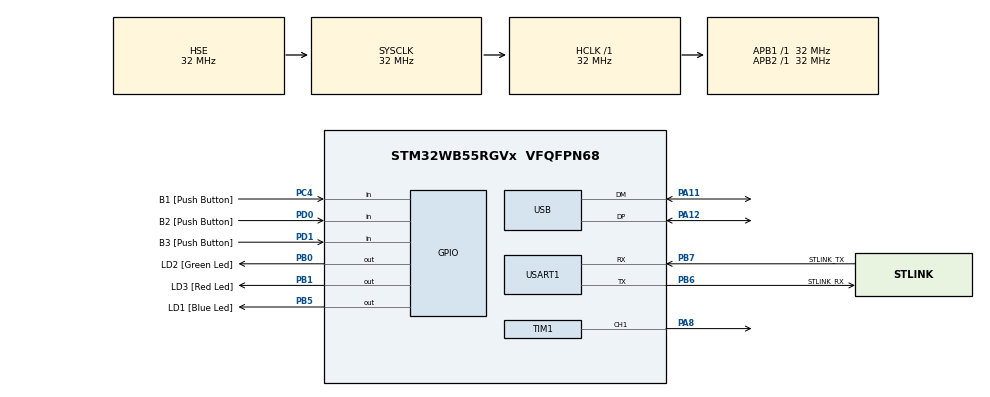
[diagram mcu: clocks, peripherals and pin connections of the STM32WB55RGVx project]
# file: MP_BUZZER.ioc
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Mcu.Family=STM32WB
Mcu.Name=STM32WB55RGVx
Mcu.Package=VFQFPN68
NVIC.PriorityGroup=NVIC_PRIORITYGROUP_4
NVIC.RTC_WKUP_IRQn=true\:0\:0\:false\:false\:true\:true\:true\:true
OSC_IN.Mode=HSE-External-Oscillator
OSC_IN.Signal=RCC_OSC_IN
OSC_OUT.Mode=HSE-External-Oscillator
OSC_OUT.Signal=RCC_OSC_OUT
PA11.Mode=Device
PA11.Signal=USB_DM
PA12.Mode=Device
PA12.Signal=USB_DP
PA13.GPIO_Label=JTMS
PA13.Mode=Trace_Asynchronous_SW
PA13.Signal=SYS_JTMS-SWDIO
PA14.GPIO_Label=JTCK
PA14.Mode=Trace_Asynchronous_SW
PA14.Signal=SYS_JTCK-SWCLK
PA8.Signal=S_TIM1_CH1
PB0.GPIO_Label=LD2 [Green Led]
PB0.Signal=GPIO_Output
PB1.GPIO_Label=LD3 [Red Led]
PB1.Signal=GPIO_Output
PB3.GPIO_Label=JTDO
PB3.Mode=Trace_Asynchronous_SW
PB3.Signal=SYS_JTDO-SWO
PB5.GPIO_Label=LD1 [Blue Led]
PB5.Signal=GPIO_Output
PB6.GPIO_Label=STLINK_RX
PB6.GPIO_PuPd=GPIO_PULLUP
PB6.Mode=Asynchronous
PB6.Signal=USART1_TX
PB7.GPIO_Label=STLINK_TX
PB7.GPIO_PuPd=GPIO_PULLUP
PB7.Mode=Asynchronous
PB7.Signal=USART1_RX
PC13.Mode=SYS_WakeUp1
PC13.Signal=SYS_WKUP2
PC14-OSC32_IN.Mode=LSE-External-Oscillator
PC14-OSC32_IN.Signal=RCC_OSC32_IN
PC15-OSC32_OUT.Mode=LSE-External-Oscillator
PC15-OSC32_OUT.Signal=RCC_OSC32_OUT
PC4.GPIO_Label=B1 [Push Button]
PC4.Signal=GPIO_Input
PD0.GPIO_Label=B2 [Push Button]
PD0.Signal=GPIO_Input
PD1.GPIO_Label=B3 [Push Button]
PD1.Signal=GPIO_Input
ProjectManager.HeapSize=0x200
ProjectManager.StackSize=0x400
ProjectManager.TargetToolchain=STM32CubeIDE
RCC.ADCFreq_Value=48000000
RCC.AHBFreq_Value=32000000
RCC.APB1Freq_Value=32000000
RCC.APB1TimFreq_Value=32000000
RCC.APB2Freq_Value=32000000
RCC.APB2TimFreq_Value=32000000
RCC.APB3Freq_Value=16000000
RCC.CortexFreq_Value=32000000
RCC.HCLKFreq_Value=32000000
RCC.HSE_VALUE=32000000
RCC.HSI48_VALUE=48000000
RCC.HSI_VALUE=16000000
RCC.LSE_Drive_Capability=RCC_LSEDRIVE_LOW
RCC.PLLN=32
RCC.PLLSAI1N=24
RCC.SMPSCLockSelectionVirtual=RCC_SMPSCLKSOURCE_HSI
RCC.SMPSCLockSelectionVirtualVirtual=RCC_SMPSCLKSOURCE_HSI
RCC.SMPSDivider=1
RCC.SYSCLKFreq_VALUE=32000000
RCC.SYSCLKSource=RCC_SYSCLKSOURCE_HSE
RCC.USBFreq_Value=48000000
RCC.VCOOutputFreq_Value=128000000
SH.S_TIM1_CH1.0=TIM1_CH1,PWM Generation1 CH1
TIM1.Channel-PWM\ Generation1\ CH1=TIM_CHANNEL_1
TIM1.Period=255
TIM1.Prescaler=15
TIM1.Pulse-PWM\ Generation1\ CH1=127
USART1.VirtualMode-Asynchronous=VM_ASYNC
USART1.WordLength=WORDLENGTH_7B
VP_MEMORYMAP_VS_MEMORYMAP.Mode=CurAppReg
VP_RTC_VS_RTC_Activate.Mode=RTC_Enabled
VP_RTC_VS_RTC_WakeUp_intern.Mode=WakeUp
VP_TIM1_VS_ClockSourceINT.Mode=Internal
board=NUCLEO-WB55RG

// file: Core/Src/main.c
/* USER CODE BEGIN Header */
/**
  ******************************************************************************
  * @file           : main.c
  * @brief          : Main program body
  ******************************************************************************
  * @attention
  *
  * Copyright (c) 2024 STMicroelectronics.
  * All rights reserved.
  *
  * This software is licensed under terms that can be found in the LICENSE file
  * in the root directory of this software component.
  * If no LICENSE file comes with this software, it is provided AS-IS.
  *
  ******************************************************************************
  */
/* USER CODE END Header */
#include "main.h"

/* USER CODE BEGIN PD */

#define A	15
#define B	126
#define C	213
#define D	210
#define E	190
#define F	178
#define G	211
#define A2	118

/* USER CODE END PD */

RTC_HandleTypeDef hrtc;

TIM_HandleTypeDef htim1;

UART_HandleTypeDef huart1;

PCD_HandleTypeDef hpcd_USB_FS;

void SystemClock_Config(void);
void PeriphCommonClock_Config(void);
static void MX_GPIO_Init(void);
static void MX_USART1_UART_Init(void);
static void MX_USB_PCD_Init(void);
static void MX_RTC_Init(void);
static void MX_TIM1_Init(void);
/* USER CODE BEGIN PFP */

void Buzzer_TurnOn(int prescalerfornote, int NoteDurationMs)
{
	HAL_TIM_PWM_Start(&htim1,TIM_CHANNEL_1);

		for(int i = 0; i<NoteDurationMs ; i++)
		{
			TIM2->PSC = prescalerfornote; //change prescaler for have the frequency of our note
			HAL_Delay(1);
		}
		TIM2->PSC=0;
	HAL_TIM_PWM_Stop(&htim1,TIM_CHANNEL_1);

}

/* USER CODE END PFP */

int main(void)
{

  /* MCU Configuration--------------------------------------------------------*/

  /* Reset of all peripherals, Initializes the Flash interface and the Systick. */
  HAL_Init();

  /* Configure the system clock */
  SystemClock_Config();

/* Configure the peripherals common clocks */
  PeriphCommonClock_Config();

  /* Initialize all configured peripherals */
  MX_GPIO_Init();
  MX_USART1_UART_Init();
  MX_USB_PCD_Init();
  MX_RTC_Init();
  MX_TIM1_Init();

  /* Infinite loop */
  while (1)
  {

    /* USER CODE BEGIN 3 */
	  Buzzer_TurnOn(G,1000);
	  	  HAL_Delay(100);
	  	Buzzer_TurnOn(A,1000);
	  	  HAL_Delay(100);
	  	  //BuzzerPlayNote(C,500);
	  	  //HAL_Delay(100);
	  	  //BuzzerPlayNote(D,500);
	  	  //HAL_Delay(100);
	  	  //BuzzerPlayNote(E,500);
	  	  //HAL_Delay(100);
	  	  //BuzzerPlayNote(F,500);
	  	  //HAL_Delay(100);
	  	  //BuzzerPlayNote(G,500);
	  	  //HAL_Delay(100);
	  	  //BuzzerPlayNote(A2,500);
  }
  /* USER CODE END 3 */
}

void SystemClock_Config(void)
{
  RCC_OscInitTypeDef RCC_OscInitStruct = {0};
  RCC_ClkInitTypeDef RCC_ClkInitStruct = {0};

  /** Macro to configure the PLL multiplication factor
  */
  __HAL_RCC_PLL_PLLM_CONFIG(RCC_PLLM_DIV1);

  /** Macro to configure the PLL clock source
  */
  __HAL_RCC_PLL_PLLSOURCE_CONFIG(RCC_PLLSOURCE_MSI);

  /** Configure LSE Drive Capability
  */
  HAL_PWR_EnableBkUpAccess();
  __HAL_RCC_LSEDRIVE_CONFIG(RCC_LSEDRIVE_LOW);

  /** Configure the main internal regulator output voltage
  */
  __HAL_PWR_VOLTAGESCALING_CONFIG(PWR_REGULATOR_VOLTAGE_SCALE1);

  /** Initializes the RCC Oscillators according to the specified parameters
  * in the RCC_OscInitTypeDef structure.
  */
  RCC_OscInitStruct.OscillatorType = RCC_OSCILLATORTYPE_HSI|RCC_OSCILLATORTYPE_LSI1
                              |RCC_OSCILLATORTYPE_HSE|RCC_OSCILLATORTYPE_LSE
                              |RCC_OSCILLATORTYPE_MSI;
  RCC_OscInitStruct.HSEState = RCC_HSE_ON;
  RCC_OscInitStruct.LSEState = RCC_LSE_ON;
  RCC_OscInitStruct.HSIState = RCC_HSI_ON;
  RCC_OscInitStruct.MSIState = RCC_MSI_ON;
  RCC_OscInitStruct.HSICalibrationValue = RCC_HSICALIBRATION_DEFAULT;
  RCC_OscInitStruct.MSICalibrationValue = RCC_MSICALIBRATION_DEFAULT;
  RCC_OscInitStruct.MSIClockRange = RCC_MSIRANGE_6;
  RCC_OscInitStruct.LSIState = RCC_LSI_ON;
  RCC_OscInitStruct.PLL.PLLState = RCC_PLL_NONE;
  if (HAL_RCC_OscConfig(&RCC_OscInitStruct) != HAL_OK)
  {
    Error_Handler();
  }

  /** Configure the SYSCLKSource, HCLK, PCLK1 and PCLK2 clocks dividers
  */
  RCC_ClkInitStruct.ClockType = RCC_CLOCKTYPE_HCLK4|RCC_CLOCKTYPE_HCLK2
                              |RCC_CLOCKTYPE_HCLK|RCC_CLOCKTYPE_SYSCLK
                              |RCC_CLOCKTYPE_PCLK1|RCC_CLOCKTYPE_PCLK2;
  RCC_ClkInitStruct.SYSCLKSource = RCC_SYSCLKSOURCE_HSE;
  RCC_ClkInitStruct.AHBCLKDivider = RCC_SYSCLK_DIV1;
  RCC_ClkInitStruct.APB1CLKDivider = RCC_HCLK_DIV1;
  RCC_ClkInitStruct.APB2CLKDivider = RCC_HCLK_DIV1;
  RCC_ClkInitStruct.AHBCLK2Divider = RCC_SYSCLK_DIV1;
  RCC_ClkInitStruct.AHBCLK4Divider = RCC_SYSCLK_DIV1;

  if (HAL_RCC_ClockConfig(&RCC_ClkInitStruct, FLASH_LATENCY_1) != HAL_OK)
  {
    Error_Handler();
  }

  /** Enable MSI Auto calibration
  */
  HAL_RCCEx_EnableMSIPLLMode();
}

void PeriphCommonClock_Config(void)
{
  RCC_PeriphCLKInitTypeDef PeriphClkInitStruct = {0};

  /** Initializes the peripherals clock
  */
  PeriphClkInitStruct.PeriphClockSelection = RCC_PERIPHCLK_SMPS;
  PeriphClkInitStruct.SmpsClockSelection = RCC_SMPSCLKSOURCE_HSI;
  PeriphClkInitStruct.SmpsDivSelection = RCC_SMPSCLKDIV_RANGE0;

  if (HAL_RCCEx_PeriphCLKConfig(&PeriphClkInitStruct) != HAL_OK)
  {
    Error_Handler();
  }
}

static void MX_RTC_Init(void)
{

  /** Initialize RTC Only
  */
  hrtc.Instance = RTC;
  hrtc.Init.HourFormat = RTC_HOURFORMAT_24;
  hrtc.Init.AsynchPrediv = 127;
  hrtc.Init.SynchPrediv = 255;
  hrtc.Init.OutPut = RTC_OUTPUT_DISABLE;
  hrtc.Init.OutPutPolarity = RTC_OUTPUT_POLARITY_HIGH;
  hrtc.Init.OutPutType = RTC_OUTPUT_TYPE_OPENDRAIN;
  hrtc.Init.OutPutRemap = RTC_OUTPUT_REMAP_NONE;
  if (HAL_RTC_Init(&hrtc) != HAL_OK)
  {
    Error_Handler();
  }

  /** Enable the WakeUp
  */
  if (HAL_RTCEx_SetWakeUpTimer_IT(&hrtc, 0, RTC_WAKEUPCLOCK_RTCCLK_DIV16) != HAL_OK)
  {
    Error_Handler();
  }

}

static void MX_TIM1_Init(void)
{

  TIM_ClockConfigTypeDef sClockSourceConfig = {0};
  TIM_MasterConfigTypeDef sMasterConfig = {0};
  TIM_OC_InitTypeDef sConfigOC = {0};
  TIM_BreakDeadTimeConfigTypeDef sBreakDeadTimeConfig = {0};

  htim1.Instance = TIM1;
  htim1.Init.Prescaler = 15;
  htim1.Init.CounterMode = TIM_COUNTERMODE_UP;
  htim1.Init.Period = 255;
  htim1.Init.ClockDivision = TIM_CLOCKDIVISION_DIV1;
  htim1.Init.RepetitionCounter = 0;
  htim1.Init.AutoReloadPreload = TIM_AUTORELOAD_PRELOAD_DISABLE;
  if (HAL_TIM_Base_Init(&htim1) != HAL_OK)
  {
    Error_Handler();
  }
  sClockSourceConfig.ClockSource = TIM_CLOCKSOURCE_INTERNAL;
  if (HAL_TIM_ConfigClockSource(&htim1, &sClockSourceConfig) != HAL_OK)
  {
    Error_Handler();
  }
  if (HAL_TIM_PWM_Init(&htim1) != HAL_OK)
  {
    Error_Handler();
  }
  sMasterConfig.MasterOutputTrigger = TIM_TRGO_RESET;
  sMasterConfig.MasterOutputTrigger2 = TIM_TRGO2_RESET;
  sMasterConfig.MasterSlaveMode = TIM_MASTERSLAVEMODE_DISABLE;
  if (HAL_TIMEx_MasterConfigSynchronization(&htim1, &sMasterConfig) != HAL_OK)
  {
    Error_Handler();
  }
  sConfigOC.OCMode = TIM_OCMODE_PWM1;
  sConfigOC.Pulse = 127;
  sConfigOC.OCPolarity = TIM_OCPOLARITY_HIGH;
  sConfigOC.OCNPolarity = TIM_OCNPOLARITY_HIGH;
  sConfigOC.OCFastMode = TIM_OCFAST_DISABLE;
  sConfigOC.OCIdleState = TIM_OCIDLESTATE_RESET;
  sConfigOC.OCNIdleState = TIM_OCNIDLESTATE_RESET;
  if (HAL_TIM_PWM_ConfigChannel(&htim1, &sConfigOC, TIM_CHANNEL_1) != HAL_OK)
  {
    Error_Handler();
  }
  sBreakDeadTimeConfig.OffStateRunMode = TIM_OSSR_DISABLE;
  sBreakDeadTimeConfig.OffStateIDLEMode = TIM_OSSI_DISABLE;
  sBreakDeadTimeConfig.LockLevel = TIM_LOCKLEVEL_OFF;
  sBreakDeadTimeConfig.DeadTime = 0;
  sBreakDeadTimeConfig.BreakState = TIM_BREAK_DISABLE;
  sBreakDeadTimeConfig.BreakPolarity = TIM_BREAKPOLARITY_HIGH;
  sBreakDeadTimeConfig.BreakFilter = 0;
  sBreakDeadTimeConfig.BreakAFMode = TIM_BREAK_AFMODE_INPUT;
  sBreakDeadTimeConfig.Break2State = TIM_BREAK2_DISABLE;
  sBreakDeadTimeConfig.Break2Polarity = TIM_BREAK2POLARITY_HIGH;
  sBreakDeadTimeConfig.Break2Filter = 0;
  sBreakDeadTimeConfig.Break2AFMode = TIM_BREAK_AFMODE_INPUT;
  sBreakDeadTimeConfig.AutomaticOutput = TIM_AUTOMATICOUTPUT_DISABLE;
  if (HAL_TIMEx_ConfigBreakDeadTime(&htim1, &sBreakDeadTimeConfig) != HAL_OK)
  {
    Error_Handler();
  }
  HAL_TIM_MspPostInit(&htim1);

}

static void MX_USART1_UART_Init(void)
{

  huart1.Instance = USART1;
  huart1.Init.BaudRate = 115200;
  huart1.Init.WordLength = UART_WORDLENGTH_7B;
  huart1.Init.StopBits = UART_STOPBITS_1;
  huart1.Init.Parity = UART_PARITY_NONE;
  huart1.Init.Mode = UART_MODE_TX_RX;
  huart1.Init.HwFlowCtl = UART_HWCONTROL_NONE;
  huart1.Init.OverSampling = UART_OVERSAMPLING_16;
  huart1.Init.OneBitSampling = UART_ONE_BIT_SAMPLE_DISABLE;
  huart1.Init.ClockPrescaler = UART_PRESCALER_DIV1;
  huart1.AdvancedInit.AdvFeatureInit = UART_ADVFEATURE_NO_INIT;
  if (HAL_UART_Init(&huart1) != HAL_OK)
  {
    Error_Handler();
  }
  if (HAL_UARTEx_SetTxFifoThreshold(&huart1, UART_TXFIFO_THRESHOLD_1_8) != HAL_OK)
  {
    Error_Handler();
  }
  if (HAL_UARTEx_SetRxFifoThreshold(&huart1, UART_RXFIFO_THRESHOLD_1_8) != HAL_OK)
  {
    Error_Handler();
  }
  if (HAL_UARTEx_DisableFifoMode(&huart1) != HAL_OK)
  {
    Error_Handler();
  }

}

static void MX_USB_PCD_Init(void)
{

  hpcd_USB_FS.Instance = USB;
  hpcd_USB_FS.Init.dev_endpoints = 8;
  hpcd_USB_FS.Init.speed = PCD_SPEED_FULL;
  hpcd_USB_FS.Init.phy_itface = PCD_PHY_EMBEDDED;
  hpcd_USB_FS.Init.Sof_enable = DISABLE;
  hpcd_USB_FS.Init.low_power_enable = DISABLE;
  hpcd_USB_FS.Init.lpm_enable = DISABLE;
  hpcd_USB_FS.Init.battery_charging_enable = DISABLE;
  if (HAL_PCD_Init(&hpcd_USB_FS) != HAL_OK)
  {
    Error_Handler();
  }

}

static void MX_GPIO_Init(void)
{
  GPIO_InitTypeDef GPIO_InitStruct = {0};

  /* GPIO Ports Clock Enable */
  __HAL_RCC_GPIOC_CLK_ENABLE();
  __HAL_RCC_GPIOA_CLK_ENABLE();
  __HAL_RCC_GPIOB_CLK_ENABLE();
  __HAL_RCC_GPIOD_CLK_ENABLE();

  /*Configure GPIO pin Output Level */
  HAL_GPIO_WritePin(GPIOB, LD2_Pin|LD3_Pin|LD1_Pin, GPIO_PIN_RESET);

  /*Configure GPIO pin : B1_Pin */
  GPIO_InitStruct.Pin = B1_Pin;
  GPIO_InitStruct.Mode = GPIO_MODE_INPUT;
  GPIO_InitStruct.Pull = GPIO_NOPULL;
  HAL_GPIO_Init(B1_GPIO_Port, &GPIO_InitStruct);

  /*Configure GPIO pins : LD2_Pin LD3_Pin LD1_Pin */
  GPIO_InitStruct.Pin = LD2_Pin|LD3_Pin|LD1_Pin;
  GPIO_InitStruct.Mode = GPIO_MODE_OUTPUT_PP;
  GPIO_InitStruct.Pull = GPIO_NOPULL;
  GPIO_InitStruct.Speed = GPIO_SPEED_FREQ_LOW;
  HAL_GPIO_Init(GPIOB, &GPIO_InitStruct);

  /*Configure GPIO pins : B2_Pin B3_Pin */
  GPIO_InitStruct.Pin = B2_Pin|B3_Pin;
  GPIO_InitStruct.Mode = GPIO_MODE_INPUT;
  GPIO_InitStruct.Pull = GPIO_NOPULL;
  HAL_GPIO_Init(GPIOD, &GPIO_InitStruct);

}

void Error_Handler(void)
{
  __disable_irq();
  while (1)
  {
  }
}
